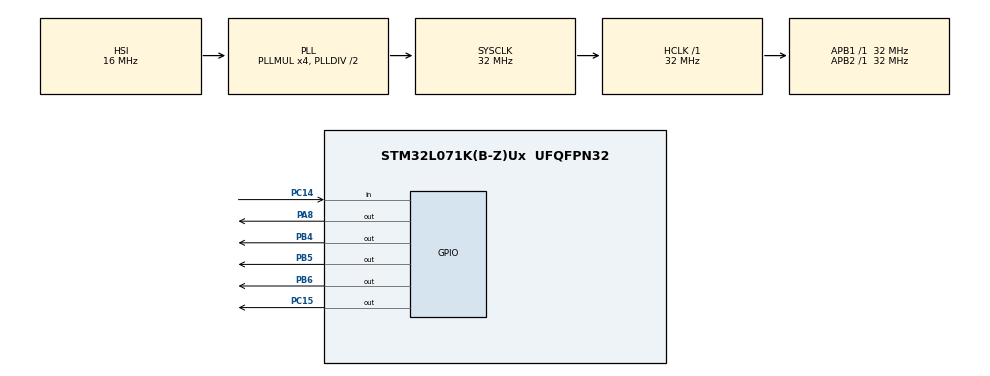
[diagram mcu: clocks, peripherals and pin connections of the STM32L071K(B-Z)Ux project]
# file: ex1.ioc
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Mcu.Family=STM32L0
Mcu.Name=STM32L071K(B-Z)Ux
Mcu.Package=UFQFPN32
PA8.Signal=GPIO_Output
PB4.Signal=GPIO_Output
PB5.Signal=GPIO_Output
PB6.Signal=GPIO_Output
PC14-OSC32_IN.Signal=GPIO_Input
PC15-OSC32_OUT.Signal=GPIO_Output
ProjectManager.HeapSize=0x200
ProjectManager.StackSize=0x400
ProjectManager.TargetToolchain=MDK-ARM V5
RCC.AHBFreq_Value=32000000
RCC.APB1Freq_Value=32000000
RCC.APB1TimFreq_Value=32000000
RCC.APB2Freq_Value=32000000
RCC.APB2TimFreq_Value=32000000
RCC.HCLKFreq_Value=32000000
RCC.HSI16_VALUE=16000000
RCC.HSI_VALUE=16000000
RCC.LSE_VALUE=32768
RCC.MSI_VALUE=2097000
RCC.PLLMUL=RCC_PLLMUL_4
RCC.SYSCLKFreq_VALUE=32000000
RCC.SYSCLKSource=RCC_SYSCLKSOURCE_PLLCLK
RCC.VCOOutputFreq_Value=64000000
VP_CRC_VS_CRC.Mode=CRC_Activate
VP_RTC_VS_RTC_Activate.Mode=RTC_Enabled
VP_RTC_VS_RTC_Calendar.Mode=RTC_Calendar
board=custom

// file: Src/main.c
/* USER CODE BEGIN Header */
/**
  ******************************************************************************
  * @file           : main.c
  * @brief          : Main program body
  ******************************************************************************
  * @attention
  *
  * <h2><center>&copy; Copyright (c) 2019 STMicroelectronics.
  * All rights reserved.</center></h2>
  *
  * This software component is licensed by ST under BSD 3-Clause license,
  * the "License"; You may not use this file except in compliance with the
  * License. You may obtain a copy of the License at:
  *                        opensource.org/licenses/BSD-3-Clause
  *
  ******************************************************************************
  */
/* USER CODE END Header */

#include "main.h"
#include "crc.h"
#include "rtc.h"
#include "gpio.h"
#include "stm32l0xx_hal.h"
#include "zm4xx_gpio.h"
#include "spi.h"
#include "timer.h"
#include "stddef.h"
#include "sx127x_lora.h"

//void SystemClock_Config(void);
/* USER CODE BEGIN PFP */
#define FREQ  (433000000)
void SystemClock_Config(void);
void Hardware_Init(void);
radio_handle_t  handle;
/* USER CODE END PFP */

/* USER CODE BEGIN 0 */
void Task_BrdInit(void)
{
    HAL_GPIO_WritePin(GPIOC, GPIO_PIN_15, GPIO_PIN_SET);

    OLED_PowerControl(ENABLE);

    HAL_Delay(200);
    OLED_Init();
    OLED_Clear();

    OLED_ShowString(0, 0, (unsigned char *)"                ", 16);
    OLED_ShowString(0, 2, (unsigned char *)"                ", 16);

}
void LoRa_Init(void)
{

	handle = radio_zm4xx_inst_init(spi_recv_byte,spi_send_byte,zm4xx_rst_pin_set,zm4xx_sel_pin_set,delay_ms,delay_us);

	if(handle != NULL){
		if(RADIO_RET_OK == radio_freq_set(handle, FREQ)){
				HAL_GPIO_WritePin(GPIOC, GPIO_PIN_15,GPIO_PIN_RESET);
		}

		radio_mode_set(handle, RX_MODE);	//Receive Mode
	}
}
/* USER CODE END 0 */

int main(void)
{
  /* USER CODE BEGIN 1 */
    char lcdLine_1st_line[16];
    char lcdLine_2st_line[16];
	int ret = RADIO_RET_OK;
	unsigned int i;
	uint16_t len = 0;
	uint8_t rx[256];
	uint8_t tx = 0x55;
	uint8_t cntr = 0;

  /* USER CODE END 1 */

  /* MCU Configuration--------------------------------------------------------*/

  /* Reset of all peripherals, Initializes the Flash interface and the Systick. */
  HAL_Init();

  /* Configure the system clock */
  SystemClock_Config();

  /* Initialize all configured peripherals */
  MX_GPIO_Init();
  MX_CRC_Init();
  MX_RTC_Init();
	zm4xx_pin_init(); //LORA��Ҫ
	spi_init();//LORA��Ҫ
	LoRa_Init();
  /* USER CODE BEGIN 2 */
    Task_BrdInit();
		time_set();
//		time.Minutes=18;
//		HAL_RTC_SetTime(&hrtc,&time,RTC_FORMAT_BCD);
  /* USER CODE END 2 */

  /* Infinite loop */
    while (1)
    {

    /* USER CODE BEGIN 3 */
			HAL_RTC_GetTime(&hrtc,&time,RTC_FORMAT_BIN);
			HAL_RTC_GetDate(&hrtc,&data,RTC_FORMAT_BIN);

			sprintf(lcdLine_1st_line, "%d : %d : %d ", data.Year, data.Month, data.Date);
			sprintf(lcdLine_2st_line, "%d : %d : %2d ", time.Hours, time.Minutes, time.Seconds);

//			OLED_ShowString(0, 0, (unsigned char *)lcdLine_1st_line, 16);
			OLED_ShowString(0, 2, (unsigned char *)lcdLine_2st_line, 16);

			i=sizeof(lcdLine_2st_line);
			radio_buf_send(handle, (unsigned char *)lcdLine_2st_line, i);
			radio_mode_set(handle, RX_MODE);
			ret = radio_buf_recv(handle, rx, &len);
			i=5000;
			while(i--&&ret != RADIO_RET_OK)
				ret = radio_buf_recv(handle, rx, &len);
			if(ret == RADIO_RET_OK)
			{
				for(i=0;i<=len;i++)
				{
					OLED_ShowChar(8*i, 0, *(rx+i), 16);
				}
			}
    }
  /* USER CODE END 3 */
}

//    {
//			ret = radio_buf_recv(handle, &rx, &len);
//			if(ret == RADIO_RET_OK){
//				if(rx == 0xAA){
//						HAL_GPIO_TogglePin(GPIOC, GPIO_PIN_15);
//				}
//			}
//
//			if(++cntr == 40){
//				radio_buf_send(handle, &tx, 1); 	//
//				radio_mode_set(handle, RX_MODE);
//				cntr = 0;
//			}
//
//		  HAL_Delay(2);

void SystemClock_Config(void)
{
  RCC_OscInitTypeDef RCC_OscInitStruct = {0};
  RCC_ClkInitTypeDef RCC_ClkInitStruct = {0};
  RCC_PeriphCLKInitTypeDef PeriphClkInit = {0};

  /** Configure the main internal regulator output voltage
  */
  __HAL_PWR_VOLTAGESCALING_CONFIG(PWR_REGULATOR_VOLTAGE_SCALE1);
  /** Initializes the CPU, AHB and APB busses clocks
  */
  RCC_OscInitStruct.OscillatorType = RCC_OSCILLATORTYPE_HSI|RCC_OSCILLATORTYPE_LSI;
  RCC_OscInitStruct.HSIState = RCC_HSI_ON;
  RCC_OscInitStruct.HSICalibrationValue = RCC_HSICALIBRATION_DEFAULT;
  RCC_OscInitStruct.LSIState = RCC_LSI_ON;
  RCC_OscInitStruct.PLL.PLLState = RCC_PLL_ON;
  RCC_OscInitStruct.PLL.PLLSource = RCC_PLLSOURCE_HSI;
  RCC_OscInitStruct.PLL.PLLMUL = RCC_PLLMUL_4;
  RCC_OscInitStruct.PLL.PLLDIV = RCC_PLLDIV_2;
  if (HAL_RCC_OscConfig(&RCC_OscInitStruct) != HAL_OK)
  {
    Error_Handler();
  }
  /** Initializes the CPU, AHB and APB busses clocks
  */
  RCC_ClkInitStruct.ClockType = RCC_CLOCKTYPE_HCLK|RCC_CLOCKTYPE_SYSCLK
                              |RCC_CLOCKTYPE_PCLK1|RCC_CLOCKTYPE_PCLK2;
  RCC_ClkInitStruct.SYSCLKSource = RCC_SYSCLKSOURCE_PLLCLK;
  RCC_ClkInitStruct.AHBCLKDivider = RCC_SYSCLK_DIV1;
  RCC_ClkInitStruct.APB1CLKDivider = RCC_HCLK_DIV1;
  RCC_ClkInitStruct.APB2CLKDivider = RCC_HCLK_DIV1;

  if (HAL_RCC_ClockConfig(&RCC_ClkInitStruct, FLASH_LATENCY_1) != HAL_OK)
  {
    Error_Handler();
  }
  PeriphClkInit.PeriphClockSelection = RCC_PERIPHCLK_RTC;
  PeriphClkInit.RTCClockSelection = RCC_RTCCLKSOURCE_LSI;
  if (HAL_RCCEx_PeriphCLKConfig(&PeriphClkInit) != HAL_OK)
  {
    Error_Handler();
  }
}

void Error_Handler(void)
{
}

/************************ (C) COPYRIGHT STMicroelectronics *****END OF FILE****/
